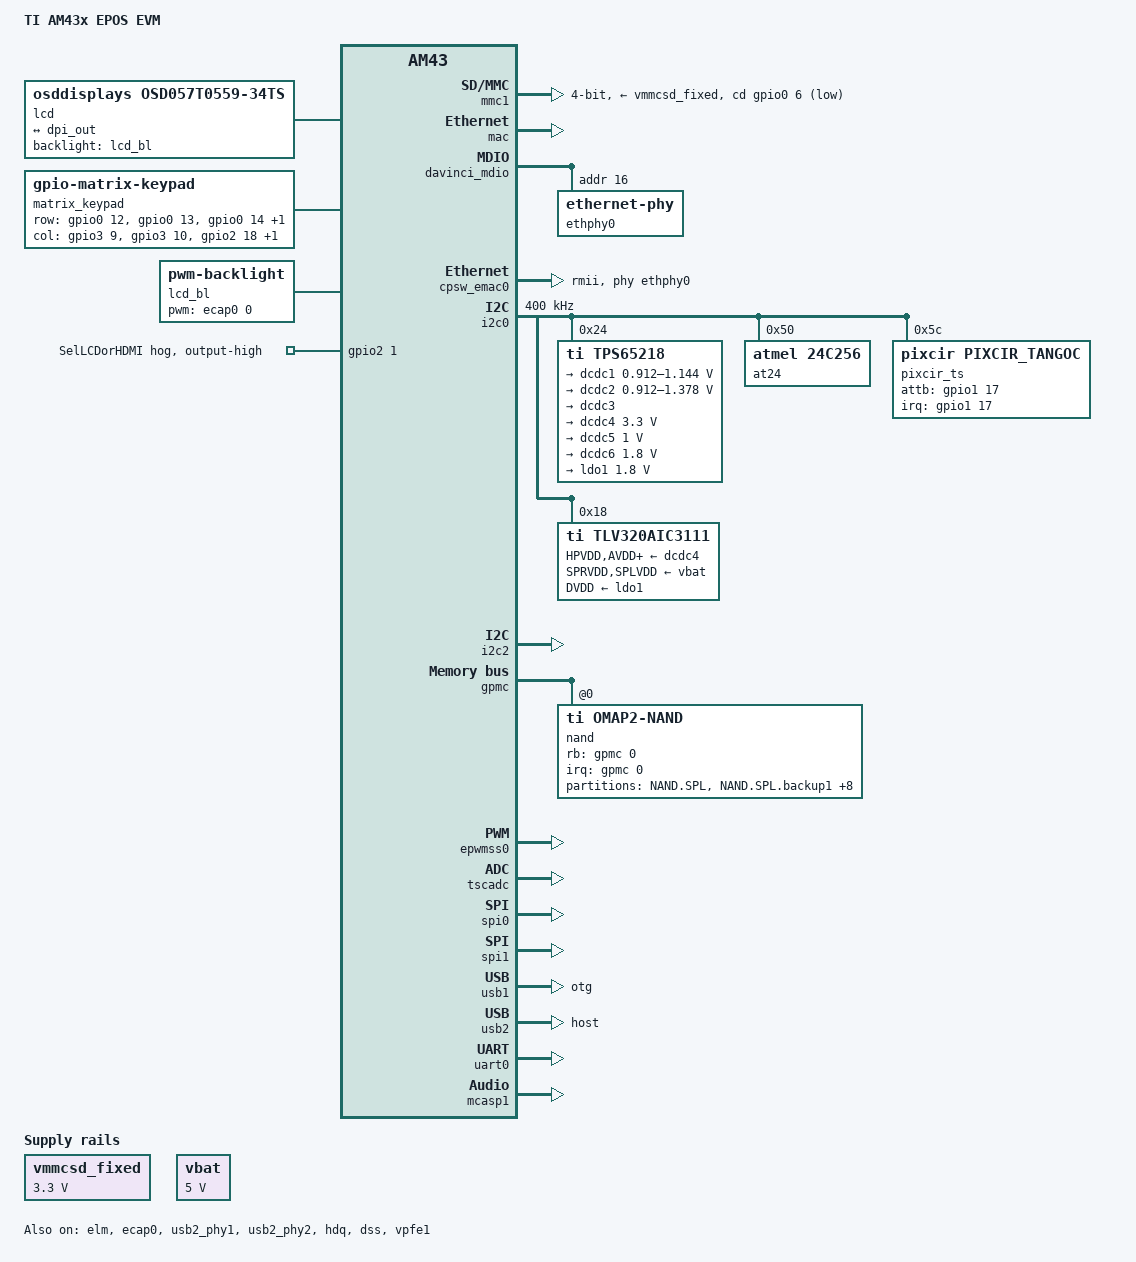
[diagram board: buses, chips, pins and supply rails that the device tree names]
/*
 * Copyright (C) 2013 Texas Instruments Incorporated - http://www.ti.com/
 *
 * This program is free software; you can redistribute it and/or modify
 * it under the terms of the GNU General Public License version 2 as
 * published by the Free Software Foundation.
 */

/* AM43x EPOS EVM */

/dts-v1/;

#include "am4372.dtsi"
#include <dt-bindings/pinctrl/am43xx.h>
#include <dt-bindings/gpio/gpio.h>
#include <dt-bindings/pwm/pwm.h>
#include <dt-bindings/sound/tlv320aic31xx-micbias.h>

/ {
	model = "TI AM43x EPOS EVM";
	compatible = "ti,am43x-epos-evm","ti,am438x","ti,am43";

	aliases {
		display0 = &lcd0;
	};

	chosen {
		stdout-path = &uart0;
	};

	vmmcsd_fixed: fixedregulator-sd {
		compatible = "regulator-fixed";
		regulator-name = "vmmcsd_fixed";
		regulator-min-microvolt = <3300000>;
		regulator-max-microvolt = <3300000>;
		enable-active-high;
	};

	vbat: fixedregulator0 {
		compatible = "regulator-fixed";
		regulator-name = "vbat";
		regulator-min-microvolt = <5000000>;
		regulator-max-microvolt = <5000000>;
		regulator-boot-on;
	};

	lcd0: display {
		compatible = "osddisplays,osd057T0559-34ts", "panel-dpi";
		label = "lcd";

		backlight = <&lcd_bl>;

		panel-timing {
			clock-frequency = <33000000>;
			hactive = <800>;
			vactive = <480>;
			hfront-porch = <210>;
			hback-porch = <16>;
			hsync-len = <30>;
			vback-porch = <10>;
			vfront-porch = <22>;
			vsync-len = <13>;
			hsync-active = <0>;
			vsync-active = <0>;
			de-active = <1>;
			pixelclk-active = <1>;
		};

		port {
			lcd_in: endpoint {
				remote-endpoint = <&dpi_out>;
			};
		};
	};

	matrix_keypad: matrix_keypad0 {
		compatible = "gpio-matrix-keypad";
		debounce-delay-ms = <5>;
		col-scan-delay-us = <2>;
		pinctrl-names = "default", "sleep";
		pinctrl-0 = <&matrix_keypad_default>;
		pinctrl-1 = <&matrix_keypad_sleep>;

		row-gpios = <&gpio0 12 GPIO_ACTIVE_HIGH		/* Bank0, pin12 */
			     &gpio0 13 GPIO_ACTIVE_HIGH		/* Bank0, pin13 */
			     &gpio0 14 GPIO_ACTIVE_HIGH		/* Bank0, pin14 */
			     &gpio0 15 GPIO_ACTIVE_HIGH>;	/* Bank0, pin15 */

		col-gpios = <&gpio3 9 GPIO_ACTIVE_HIGH		/* Bank3, pin9 */
			     &gpio3 10 GPIO_ACTIVE_HIGH		/* Bank3, pin10 */
			     &gpio2 18 GPIO_ACTIVE_HIGH		/* Bank2, pin18 */
			     &gpio2 19 GPIO_ACTIVE_HIGH>;	/* Bank2, pin19 */

		linux,keymap = <0x00000201	/* P1 */
			0x01000204	/* P4 */
			0x02000207	/* P7 */
			0x0300020a	/* NUMERIC_STAR */
			0x00010202	/* P2 */
			0x01010205	/* P5 */
			0x02010208	/* P8 */
			0x03010200	/* P0 */
			0x00020203	/* P3 */
			0x01020206	/* P6 */
			0x02020209	/* P9 */
			0x0302020b	/* NUMERIC_POUND */
			0x00030067	/* UP */
			0x0103006a	/* RIGHT */
			0x0203006c	/* DOWN */
			0x03030069>;	/* LEFT */
	};

	lcd_bl: backlight {
		compatible = "pwm-backlight";
		pwms = <&ecap0 0 50000 PWM_POLARITY_INVERTED>;
		brightness-levels = <0 51 53 56 62 75 101 152 255>;
		default-brightness-level = <8>;
	};

	sound0: sound0 {
		compatible = "simple-audio-card";
		simple-audio-card,name = "AM43-EPOS-EVM";
		simple-audio-card,widgets =
			"Microphone", "Microphone Jack",
			"Headphone", "Headphone Jack",
			"Speaker", "Speaker";
		simple-audio-card,routing =
			"MIC1LP", "Microphone Jack",
			"MIC1RP", "Microphone Jack",
			"MIC1LP", "MICBIAS",
			"MIC1RP", "MICBIAS",
			"Headphone Jack", "HPL",
			"Headphone Jack", "HPR",
			"Speaker", "SPL",
			"Speaker", "SPR";
		simple-audio-card,format = "dsp_b";
		simple-audio-card,bitclock-master = <&sound0_master>;
		simple-audio-card,frame-master = <&sound0_master>;
		simple-audio-card,bitclock-inversion;

		simple-audio-card,cpu {
			sound-dai = <&mcasp1>;
			system-clock-frequency = <12000000>;
		};

		sound0_master: simple-audio-card,codec {
			sound-dai = <&tlv320aic3111>;
			system-clock-frequency = <12000000>;
		};
	};
};

&am43xx_pinmux {
		pinctrl-names = "default";
		pinctrl-0 = <&unused_pins>;

		unused_pins: unused_pins {
			pinctrl-single,pins = <
				AM4372_IOPAD(0x848, DS0_PIN_OUTPUT_PULLUP | PIN_OUTPUT_PULLUP | MUX_MODE7)
				AM4372_IOPAD(0x850, DS0_PIN_INPUT | PIN_INPUT_PULLDOWN | MUX_MODE7)
				AM4372_IOPAD(0x858, DS0_PIN_INPUT | PIN_INPUT_PULLDOWN | MUX_MODE7)
				AM4372_IOPAD(0x860, DS0_PIN_INPUT | PIN_INPUT_PULLDOWN | MUX_MODE7)
				AM4372_IOPAD(0x864, DS0_PIN_INPUT | PIN_INPUT_PULLDOWN | MUX_MODE7)
				AM4372_IOPAD(0x868, DS0_PIN_INPUT | PIN_INPUT_PULLDOWN | MUX_MODE7)
				AM4372_IOPAD(0x86c, DS0_PIN_INPUT | PIN_INPUT_PULLDOWN | MUX_MODE7)
				AM4372_IOPAD(0x878, DS0_PIN_OUTPUT_PULLUP | PIN_OUTPUT_PULLUP | MUX_MODE7)
				AM4372_IOPAD(0x908, DS0_PIN_INPUT_PULLDOWN | PIN_INPUT_PULLDOWN | MUX_MODE7)
				AM4372_IOPAD(0x91c, DS0_PIN_OUTPUT_PULLDOWN | PIN_OUTPUT_PULLDOWN | MUX_MODE7)
				AM4372_IOPAD(0x920, DS0_PIN_INPUT | PIN_INPUT_PULLDOWN | MUX_MODE7)
				AM4372_IOPAD(0x9e0, DS0_PIN_INPUT_PULLDOWN | PIN_INPUT_PULLDOWN | MUX_MODE7)
				AM4372_IOPAD(0xA0c, DS0_PIN_OUTPUT_PULLDOWN | PIN_OUTPUT_PULLDOWN | MUX_MODE7)
				AM4372_IOPAD(0xA38, DS0_PIN_INPUT | PIN_INPUT_PULLDOWN | MUX_MODE7)
				AM4372_IOPAD(0xA3c, DS0_PIN_INPUT | PIN_INPUT_PULLDOWN | MUX_MODE7)
				AM4372_IOPAD(0xA40, DS0_PIN_INPUT | PIN_INPUT_PULLDOWN | MUX_MODE7)
				AM4372_IOPAD(0xA44, DS0_PIN_INPUT | PIN_INPUT_PULLDOWN | MUX_MODE7)
				AM4372_IOPAD(0xA48, DS0_PIN_INPUT | PIN_INPUT_PULLDOWN | MUX_MODE7)
				AM4372_IOPAD(0xA4c, DS0_PIN_INPUT | PIN_INPUT_PULLDOWN | MUX_MODE7)
				AM4372_IOPAD(0xA50, DS0_PIN_INPUT | PIN_INPUT_PULLDOWN | MUX_MODE7)
				AM4372_IOPAD(0xA54, DS0_PIN_INPUT | PIN_INPUT_PULLDOWN | MUX_MODE7)
				AM4372_IOPAD(0xA58, DS0_PIN_INPUT | PIN_INPUT_PULLDOWN | MUX_MODE7)
				AM4372_IOPAD(0xA5c, DS0_PIN_INPUT | PIN_INPUT_PULLDOWN | MUX_MODE7)
				AM4372_IOPAD(0xA60, DS0_PIN_INPUT | PIN_INPUT_PULLDOWN | MUX_MODE7)
				AM4372_IOPAD(0xA64, DS0_PIN_OUTPUT_PULLUP | PIN_OUTPUT_PULLUP | MUX_MODE7)
				AM4372_IOPAD(0xA68, DS0_PIN_INPUT | PIN_INPUT_PULLDOWN | MUX_MODE7)
				AM4372_IOPAD(0xA6C, DS0_PIN_INPUT | PIN_INPUT_PULLDOWN | MUX_MODE7)
				AM4372_IOPAD(0xA74, DS0_PIN_INPUT_PULLDOWN | PIN_INPUT_PULLDOWN | MUX_MODE7)
				AM4372_IOPAD(0xA78, DS0_PIN_INPUT | PIN_INPUT_PULLDOWN | MUX_MODE7)
			>;
		};

		cpsw_default: cpsw_default {
			pinctrl-single,pins = <
				/* Slave 1 */
				AM4372_IOPAD(0x90c, PIN_INPUT_PULLDOWN | MUX_MODE1)	/* mii1_crs.rmii1_crs */
				AM4372_IOPAD(0x910, PIN_INPUT_PULLDOWN | MUX_MODE1)	/* mii1_rxerr.rmii1_rxerr */
				AM4372_IOPAD(0x914, PIN_OUTPUT_PULLDOWN | MUX_MODE1)	/* mii1_txen.rmii1_txen */
				AM4372_IOPAD(0x918, PIN_INPUT_PULLDOWN | MUX_MODE1)	/* mii1_rxdv.rmii1_rxdv */
				AM4372_IOPAD(0x924, PIN_OUTPUT_PULLDOWN | MUX_MODE1)	/* mii1_txd1.rmii1_txd1 */
				AM4372_IOPAD(0x928, PIN_OUTPUT_PULLDOWN | MUX_MODE1)	/* mii1_txd0.rmii1_txd0 */
				AM4372_IOPAD(0x93c, PIN_INPUT_PULLDOWN | MUX_MODE1)	/* mii1_rxd1.rmii1_rxd1 */
				AM4372_IOPAD(0x940, PIN_INPUT_PULLDOWN | MUX_MODE1)	/* mii1_rxd0.rmii1_rxd0 */
				AM4372_IOPAD(0x944, PIN_INPUT_PULLDOWN | MUX_MODE0)	/* rmii1_refclk.rmii1_refclk */
			>;
		};

		cpsw_sleep: cpsw_sleep {
			pinctrl-single,pins = <
				/* Slave 1 reset value */
				AM4372_IOPAD(0x90c, PIN_INPUT_PULLDOWN | MUX_MODE7)
				AM4372_IOPAD(0x910, PIN_INPUT_PULLDOWN | MUX_MODE7)
				AM4372_IOPAD(0x914, PIN_INPUT_PULLDOWN | MUX_MODE7)
				AM4372_IOPAD(0x918, PIN_INPUT_PULLDOWN | MUX_MODE7)
				AM4372_IOPAD(0x924, PIN_INPUT_PULLDOWN | MUX_MODE7)
				AM4372_IOPAD(0x928, PIN_INPUT_PULLDOWN | MUX_MODE7)
				AM4372_IOPAD(0x93c, PIN_INPUT_PULLDOWN | MUX_MODE7)
				AM4372_IOPAD(0x940, PIN_INPUT_PULLDOWN | MUX_MODE7)
				AM4372_IOPAD(0x944, PIN_INPUT_PULLDOWN | MUX_MODE7)
			>;
		};

		davinci_mdio_default: davinci_mdio_default {
			pinctrl-single,pins = <
				/* MDIO */
				AM4372_IOPAD(0x948, PIN_INPUT_PULLUP | SLEWCTRL_FAST | MUX_MODE0)	/* mdio_data.mdio_data */
				AM4372_IOPAD(0x94c, PIN_OUTPUT_PULLUP | MUX_MODE0)			/* mdio_clk.mdio_clk */
			>;
		};

		davinci_mdio_sleep: davinci_mdio_sleep {
			pinctrl-single,pins = <
				/* MDIO reset value */
				AM4372_IOPAD(0x948, PIN_INPUT_PULLDOWN | MUX_MODE7)
				AM4372_IOPAD(0x94c, PIN_INPUT_PULLDOWN | MUX_MODE7)
			>;
		};

		i2c0_pins: pinmux_i2c0_pins {
			pinctrl-single,pins = <
				AM4372_IOPAD(0x988, PIN_INPUT_PULLUP | SLEWCTRL_FAST | MUX_MODE0)	/* i2c0_sda.i2c0_sda */
				AM4372_IOPAD(0x98c, PIN_INPUT_PULLUP | SLEWCTRL_FAST | MUX_MODE0)	/* i2c0_scl.i2c0_scl */
			>;
		};

		nand_flash_x8_default: nand_flash_x8_default {
			pinctrl-single,pins = <
				AM4372_IOPAD(0x840, PIN_OUTPUT_PULLDOWN | MUX_MODE7)	/* gpmc_a0.SELQSPIorNAND/GPIO */
				AM4372_IOPAD(0x800, PIN_INPUT_PULLDOWN | MUX_MODE0)	/* gpmc_ad0.gpmc_ad0 */
				AM4372_IOPAD(0x804, PIN_INPUT_PULLDOWN | MUX_MODE0)	/* gpmc_ad1.gpmc_ad1 */
				AM4372_IOPAD(0x808, PIN_INPUT_PULLDOWN | MUX_MODE0)	/* gpmc_ad2.gpmc_ad2 */
				AM4372_IOPAD(0x80c, PIN_INPUT_PULLDOWN | MUX_MODE0)	/* gpmc_ad3.gpmc_ad3 */
				AM4372_IOPAD(0x810, PIN_INPUT_PULLDOWN | MUX_MODE0)	/* gpmc_ad4.gpmc_ad4 */
				AM4372_IOPAD(0x814, PIN_INPUT_PULLDOWN | MUX_MODE0)	/* gpmc_ad5.gpmc_ad5 */
				AM4372_IOPAD(0x818, PIN_INPUT_PULLDOWN | MUX_MODE0)	/* gpmc_ad6.gpmc_ad6 */
				AM4372_IOPAD(0x81c, PIN_INPUT_PULLDOWN | MUX_MODE0)	/* gpmc_ad7.gpmc_ad7 */
				AM4372_IOPAD(0x870, PIN_INPUT_PULLUP | MUX_MODE0)	/* gpmc_wait0.gpmc_wait0 */
				AM4372_IOPAD(0x874, PIN_OUTPUT_PULLUP | MUX_MODE7)	/* gpmc_wpn.gpmc_wpn */
				AM4372_IOPAD(0x87c, PIN_OUTPUT | MUX_MODE0)		/* gpmc_csn0.gpmc_csn0  */
				AM4372_IOPAD(0x890, PIN_OUTPUT | MUX_MODE0)		/* gpmc_advn_ale.gpmc_advn_ale */
				AM4372_IOPAD(0x894, PIN_OUTPUT | MUX_MODE0)		/* gpmc_oen_ren.gpmc_oen_ren */
				AM4372_IOPAD(0x898, PIN_OUTPUT | MUX_MODE0)		/* gpmc_wen.gpmc_wen */
				AM4372_IOPAD(0x89c, PIN_OUTPUT | MUX_MODE0)		/* gpmc_be0n_cle.gpmc_be0n_cle */
			>;
		};

		nand_flash_x8_sleep: nand_flash_x8_sleep {
			pinctrl-single,pins = <
				AM4372_IOPAD(0x840, DS0_PIN_OUTPUT_PULLDOWN | MUX_MODE7)
				AM4372_IOPAD(0x800, DS0_PIN_OUTPUT_PULLDOWN | MUX_MODE7)
				AM4372_IOPAD(0x804, DS0_PIN_OUTPUT_PULLDOWN | MUX_MODE7)
				AM4372_IOPAD(0x808, DS0_PIN_OUTPUT_PULLDOWN | MUX_MODE7)
				AM4372_IOPAD(0x80c, DS0_PIN_OUTPUT_PULLDOWN | MUX_MODE7)
				AM4372_IOPAD(0x810, DS0_PIN_OUTPUT_PULLDOWN | MUX_MODE7)
				AM4372_IOPAD(0x814, DS0_PIN_OUTPUT_PULLDOWN | MUX_MODE7)
				AM4372_IOPAD(0x818, DS0_PIN_OUTPUT_PULLDOWN | MUX_MODE7)
				AM4372_IOPAD(0x81c, DS0_PIN_OUTPUT_PULLDOWN | MUX_MODE7)
				AM4372_IOPAD(0x870, DS0_PIN_OUTPUT_PULLUP | MUX_MODE7)
				AM4372_IOPAD(0x874, DS0_PIN_OUTPUT_PULLUP | MUX_MODE7)
				AM4372_IOPAD(0x87c, DS0_PIN_OUTPUT_PULLUP | MUX_MODE7)
				AM4372_IOPAD(0x890, DS0_PIN_OUTPUT_PULLUP | MUX_MODE7)
				AM4372_IOPAD(0x894, DS0_PIN_OUTPUT_PULLUP | MUX_MODE7)
				AM4372_IOPAD(0x898, DS0_PIN_OUTPUT_PULLUP | MUX_MODE7)
				AM4372_IOPAD(0x89c, DS0_PIN_OUTPUT_PULLUP | MUX_MODE7)
			>;
		};

		ecap0_pins_default: backlight_pins_default {
			pinctrl-single,pins = <
				AM4372_IOPAD(0x964, MUX_MODE0)         /* eCAP0_in_PWM0_out.eCAP0_in_PWM0_out MODE0 */
			>;
		};

		ecap0_pins_sleep: backlight_pins_sleep {
			pinctrl-single,pins = <
				AM4372_IOPAD(0x964, DS0_PIN_OUTPUT_PULLUP | MUX_MODE7)
			>;
		};

		i2c2_pins: pinmux_i2c2_pins {
			pinctrl-single,pins = <
				AM4372_IOPAD(0x9c0, PIN_INPUT_PULLUP | SLEWCTRL_FAST | MUX_MODE8)    /* i2c2_sda.i2c2_sda */
				AM4372_IOPAD(0x9c4, PIN_INPUT_PULLUP | SLEWCTRL_FAST | MUX_MODE8)    /* i2c2_scl.i2c2_scl */
			>;
		};

		spi0_pins_default: pinmux_spi0_pins_default {
			pinctrl-single,pins = <
				AM4372_IOPAD(0x950, PIN_INPUT | MUX_MODE0)           /* spi0_clk.spi0_clk */
				AM4372_IOPAD(0x954, PIN_OUTPUT | MUX_MODE0)           /* spi0_d0.spi0_d0 */
				AM4372_IOPAD(0x958, PIN_INPUT | MUX_MODE0)           /* spi0_d1.spi0_d1 */
				AM4372_IOPAD(0x95c, PIN_OUTPUT | MUX_MODE0)          /* spi0_cs0.spi0_cs0 */
			>;
		};

		spi0_pins_sleep: pinmux_spi0_pins_sleep {
			pinctrl-single,pins = <
				AM4372_IOPAD(0x950, DS0_PIN_OUTPUT_PULLUP | PIN_OUTPUT_PULLUP | MUX_MODE7)
				AM4372_IOPAD(0x954, DS0_PIN_OUTPUT_PULLUP | PIN_OUTPUT_PULLUP | MUX_MODE7)
				AM4372_IOPAD(0x958, DS0_PIN_OUTPUT_PULLUP | PIN_OUTPUT_PULLUP | MUX_MODE7)
				AM4372_IOPAD(0x95c, DS0_PIN_OUTPUT_PULLUP | PIN_OUTPUT_PULLUP | MUX_MODE7)
			>;
		};

		spi1_pins_default: pinmux_spi1_pins_default {
			pinctrl-single,pins = <
				AM4372_IOPAD(0x990, PIN_INPUT | MUX_MODE3)           /* mcasp0_aclkx.spi1_clk */
				AM4372_IOPAD(0x994, PIN_OUTPUT | MUX_MODE3)           /* mcasp0_fsx.spi1_d0 */
				AM4372_IOPAD(0x998, PIN_INPUT | MUX_MODE3)           /* mcasp0_axr0.spi1_d1 */
				AM4372_IOPAD(0x99c, PIN_OUTPUT | MUX_MODE3)          /* mcasp0_ahclkr.spi1_cs0 */
			>;
		};

		spi1_pins_sleep: pinmux_spi1_pins_sleep {
			pinctrl-single,pins = <
				AM4372_IOPAD(0x990, DS0_PIN_OUTPUT_PULLDOWN | PIN_OUTPUT_PULLDOWN | MUX_MODE7)
				AM4372_IOPAD(0x994, DS0_PIN_OUTPUT_PULLDOWN | PIN_OUTPUT_PULLDOWN | MUX_MODE7)
				AM4372_IOPAD(0x998, DS0_PIN_OUTPUT_PULLDOWN | PIN_OUTPUT_PULLDOWN | MUX_MODE7)
				AM4372_IOPAD(0x99c, DS0_PIN_OUTPUT_PULLDOWN | PIN_OUTPUT_PULLDOWN | MUX_MODE7)
			>;
		};

		mmc1_pins_default: pinmux_mmc1_pins_default {
			pinctrl-single,pins = <
				AM4372_IOPAD(0x960, PIN_INPUT | MUX_MODE7) /* spi0_cs1.gpio0_6 */
			>;
		};

		mmc1_pins_sleep: pinmux_mmc1_pins_sleep {
			pinctrl-single,pins = <
				AM4372_IOPAD(0x960, DS0_PIN_OUTPUT_PULLUP | PIN_INPUT | MUX_MODE7)
			>;
		};

		matrix_keypad_default: matrix_keypad_default {
			pinctrl-single,pins = <
				 AM4372_IOPAD(0x92c, PIN_OUTPUT | MUX_MODE7)          /* mii1_tx_clk.gpio3_9 */
				 AM4372_IOPAD(0x930, PIN_OUTPUT | MUX_MODE7)          /* mii1_rx_clk.gpio3_10 */
				 AM4372_IOPAD(0x934, PIN_OUTPUT | MUX_MODE7)          /* mii1_rxd3.gpio2_18 */
				 AM4372_IOPAD(0x938, PIN_OUTPUT | MUX_MODE7)          /* mii1_rxd2.gpio2_19 */
				 AM4372_IOPAD(0x978, PIN_INPUT_PULLDOWN | MUX_MODE7)  /* uart1_ctsn.gpio0_12 */
				 AM4372_IOPAD(0x97C, PIN_INPUT_PULLDOWN | MUX_MODE7)  /* uart1_rtsn.gpio0_13 */
				 AM4372_IOPAD(0x980, PIN_INPUT_PULLDOWN | MUX_MODE7)  /* uart1_rxd.gpio0_14 */
				 AM4372_IOPAD(0x984, PIN_INPUT_PULLDOWN | MUX_MODE7)  /* uart1_txd.gpio0_15 */
			>;
		};

		matrix_keypad_sleep: matrix_keypad_sleep {
			pinctrl-single,pins = <
				AM4372_IOPAD(0x92c, PIN_INPUT_PULLUP | MUX_MODE7)
				AM4372_IOPAD(0x930, PIN_INPUT_PULLUP | MUX_MODE7)
				AM4372_IOPAD(0x934, PIN_INPUT_PULLUP | MUX_MODE7)
				AM4372_IOPAD(0x938, PIN_INPUT_PULLUP | MUX_MODE7)
				AM4372_IOPAD(0x978, PIN_INPUT_PULLDOWN | MUX_MODE7)
				AM4372_IOPAD(0x97C, PIN_INPUT_PULLDOWN | MUX_MODE7)
				AM4372_IOPAD(0x980, PIN_INPUT_PULLDOWN | MUX_MODE7)
				AM4372_IOPAD(0x984, PIN_INPUT_PULLDOWN | MUX_MODE7)
			>;
		};

		qspi1_pins_default: qspi1_pins_default {
			pinctrl-single,pins = <
				AM4372_IOPAD(0x87c, PIN_INPUT_PULLUP | MUX_MODE3)
				AM4372_IOPAD(0x888, PIN_INPUT_PULLUP | MUX_MODE2)
				AM4372_IOPAD(0x890, PIN_INPUT_PULLUP | MUX_MODE3)
				AM4372_IOPAD(0x894, PIN_INPUT_PULLUP | MUX_MODE3)
				AM4372_IOPAD(0x898, PIN_INPUT_PULLUP | MUX_MODE3)
				AM4372_IOPAD(0x89c, PIN_INPUT_PULLUP | MUX_MODE3)
			>;
		};

		qspi1_pins_sleep: qspi1_pins_sleep {
			pinctrl-single,pins = <
				AM4372_IOPAD(0x87c, DS0_PIN_OUTPUT_PULLUP | MUX_MODE7)
				AM4372_IOPAD(0x888, DS0_PIN_OUTPUT_PULLUP | MUX_MODE7)
				AM4372_IOPAD(0x890, DS0_PIN_OUTPUT_PULLUP | MUX_MODE7)
				AM4372_IOPAD(0x894, DS0_PIN_OUTPUT_PULLUP | MUX_MODE7)
				AM4372_IOPAD(0x898, DS0_PIN_OUTPUT_PULLUP | MUX_MODE7)
				AM4372_IOPAD(0x89c, DS0_PIN_OUTPUT_PULLUP | MUX_MODE7)
			>;
		};

		pixcir_ts_pins_default: pixcir_ts_pins_default {
			pinctrl-single,pins = <
				AM4372_IOPAD(0x844, PIN_INPUT_PULLUP | MUX_MODE7)	/* gpmc_a1.gpio1_17 */
			>;
		};

		pixcir_ts_pins_sleep: pixcir_ts_pins_sleep {
			pinctrl-single,pins = <
				AM4372_IOPAD(0x844, DS0_PIN_OUTPUT_PULLUP | PIN_OUTPUT_PULLUP | MUX_MODE7)	/* gpmc_a1.gpio1_17 */
			>;
		};

		hdq_pins: pinmux_hdq_pins {
			pinctrl-single,pins = <
				AM4372_IOPAD(0xa34, PIN_INPUT_PULLUP | MUX_MODE1)    /* cam1_wen.hdq_gpio */
			>;
		};

		dss_pins: dss_pins {
			pinctrl-single,pins = <
				AM4372_IOPAD(0x820, PIN_OUTPUT_PULLUP | MUX_MODE1) /*gpmc ad 8 -> DSS DATA 23 */
				AM4372_IOPAD(0x824, PIN_OUTPUT_PULLUP | MUX_MODE1)
				AM4372_IOPAD(0x828, PIN_OUTPUT_PULLUP | MUX_MODE1)
				AM4372_IOPAD(0x82c, PIN_OUTPUT_PULLUP | MUX_MODE1)
				AM4372_IOPAD(0x830, PIN_OUTPUT_PULLUP | MUX_MODE1)
				AM4372_IOPAD(0x834, PIN_OUTPUT_PULLUP | MUX_MODE1)
				AM4372_IOPAD(0x838, PIN_OUTPUT_PULLUP | MUX_MODE1)
				AM4372_IOPAD(0x83c, PIN_OUTPUT_PULLUP | MUX_MODE1) /*gpmc ad 15 -> DSS DATA 16 */
				AM4372_IOPAD(0x8a0, PIN_OUTPUT_PULLUP | MUX_MODE0) /* DSS DATA 0 */
				AM4372_IOPAD(0x8a4, PIN_OUTPUT_PULLUP | MUX_MODE0)
				AM4372_IOPAD(0x8a8, PIN_OUTPUT_PULLUP | MUX_MODE0)
				AM4372_IOPAD(0x8ac, PIN_OUTPUT_PULLUP | MUX_MODE0)
				AM4372_IOPAD(0x8b0, PIN_OUTPUT_PULLUP | MUX_MODE0)
				AM4372_IOPAD(0x8b4, PIN_OUTPUT_PULLUP | MUX_MODE0)
				AM4372_IOPAD(0x8B8, PIN_OUTPUT_PULLUP | MUX_MODE0)
				AM4372_IOPAD(0x8bc, PIN_OUTPUT_PULLUP | MUX_MODE0)
				AM4372_IOPAD(0x8c0, PIN_OUTPUT_PULLUP | MUX_MODE0)
				AM4372_IOPAD(0x8c4, PIN_OUTPUT_PULLUP | MUX_MODE0)
				AM4372_IOPAD(0x8c8, PIN_OUTPUT_PULLUP | MUX_MODE0)
				AM4372_IOPAD(0x8cc, PIN_OUTPUT_PULLUP | MUX_MODE0)
				AM4372_IOPAD(0x8d0, PIN_OUTPUT_PULLUP | MUX_MODE0)
				AM4372_IOPAD(0x8d4, PIN_OUTPUT_PULLUP | MUX_MODE0)
				AM4372_IOPAD(0x8d8, PIN_OUTPUT_PULLUP | MUX_MODE0)
				AM4372_IOPAD(0x8dc, PIN_OUTPUT_PULLUP | MUX_MODE0) /* DSS DATA 15 */
				AM4372_IOPAD(0x8e0, PIN_OUTPUT_PULLUP | MUX_MODE0) /* DSS VSYNC */
				AM4372_IOPAD(0x8e4, PIN_OUTPUT_PULLUP | MUX_MODE0) /* DSS HSYNC */
				AM4372_IOPAD(0x8e8, PIN_OUTPUT_PULLUP | MUX_MODE0) /* DSS PCLK */
				AM4372_IOPAD(0x8ec, PIN_OUTPUT_PULLUP | MUX_MODE0) /* DSS AC BIAS EN */
			>;
		};

		display_mux_pins: display_mux_pins {
			pinctrl-single,pins = <
				/* GPMC CLK -> GPIO 2_1 to select LCD / HDMI */
				AM4372_IOPAD(0x88C, PIN_OUTPUT_PULLUP | MUX_MODE7)
			>;
		};

		vpfe1_pins_default: vpfe1_pins_default {
			pinctrl-single,pins = <
				AM4372_IOPAD(0x9cc, PIN_INPUT_PULLUP | MUX_MODE0)  /* cam1_data9 mode 0 */
				AM4372_IOPAD(0x9d0, PIN_INPUT_PULLUP | MUX_MODE0)  /* cam1_data8 mode 0 */
				AM4372_IOPAD(0x9d4, PIN_INPUT_PULLUP | MUX_MODE0)  /* cam1_hd mode 0 */
				AM4372_IOPAD(0x9d8, PIN_INPUT_PULLUP | MUX_MODE0)  /* cam1_vd mode 0 */
				AM4372_IOPAD(0x9dc, PIN_INPUT_PULLUP | MUX_MODE0)  /* cam1_pclk mode 0 */
				AM4372_IOPAD(0x9e8, PIN_INPUT_PULLUP | MUX_MODE0)  /* cam1_data0 mode 0 */
				AM4372_IOPAD(0x9ec, PIN_INPUT_PULLUP | MUX_MODE0)  /* cam1_data1 mode 0 */
				AM4372_IOPAD(0x9f0, PIN_INPUT_PULLUP | MUX_MODE0)  /* cam1_data2 mode 0 */
				AM4372_IOPAD(0x9f4, PIN_INPUT_PULLUP | MUX_MODE0)  /* cam1_data3 mode 0 */
				AM4372_IOPAD(0x9f8, PIN_INPUT_PULLUP | MUX_MODE0)  /* cam1_data4 mode 0 */
				AM4372_IOPAD(0x9fc, PIN_INPUT_PULLUP | MUX_MODE0)  /* cam1_data5 mode 0 */
				AM4372_IOPAD(0xa00, PIN_INPUT_PULLUP | MUX_MODE0)  /* cam1_data6 mode 0 */
				AM4372_IOPAD(0xa04, PIN_INPUT_PULLUP | MUX_MODE0)  /* cam1_data7 mode 0 */
			>;
		};

		vpfe1_pins_sleep: vpfe1_pins_sleep {
			pinctrl-single,pins = <
				AM4372_IOPAD(0x9cc, DS0_PULL_UP_DOWN_EN | INPUT_EN | MUX_MODE7)
				AM4372_IOPAD(0x9d0, DS0_PULL_UP_DOWN_EN | INPUT_EN | MUX_MODE7)
				AM4372_IOPAD(0x9d4, DS0_PULL_UP_DOWN_EN | INPUT_EN | MUX_MODE7)
				AM4372_IOPAD(0x9d8, DS0_PULL_UP_DOWN_EN | INPUT_EN | MUX_MODE7)
				AM4372_IOPAD(0x9dc, DS0_PULL_UP_DOWN_EN | INPUT_EN | MUX_MODE7)
				AM4372_IOPAD(0x9e8, DS0_PULL_UP_DOWN_EN | INPUT_EN | MUX_MODE7)
				AM4372_IOPAD(0x9ec, DS0_PULL_UP_DOWN_EN | INPUT_EN | MUX_MODE7)
				AM4372_IOPAD(0x9f0, DS0_PULL_UP_DOWN_EN | INPUT_EN | MUX_MODE7)
				AM4372_IOPAD(0x9f4, DS0_PULL_UP_DOWN_EN | INPUT_EN | MUX_MODE7)
				AM4372_IOPAD(0x9f8, DS0_PULL_UP_DOWN_EN | INPUT_EN | MUX_MODE7)
				AM4372_IOPAD(0x9fc, DS0_PULL_UP_DOWN_EN | INPUT_EN | MUX_MODE7)
				AM4372_IOPAD(0xa00, DS0_PULL_UP_DOWN_EN | INPUT_EN | MUX_MODE7)
				AM4372_IOPAD(0xa04, DS0_PULL_UP_DOWN_EN | INPUT_EN | MUX_MODE7)
			>;
		};

		uart0_pins_default: uart0_pins_default {
			pinctrl-single,pins = <
				AM4372_IOPAD(0x968, DS0_PULL_UP_DOWN_EN | INPUT_EN | MUX_MODE0) /* uart0_ctsn.uart0_ctsn */
				AM4372_IOPAD(0x96C, DS0_PULL_UP_DOWN_EN | INPUT_EN | MUX_MODE0) /* uart0_rtsn.uart0_rtsn */
				AM4372_IOPAD(0x970, PIN_INPUT_PULLUP | SLEWCTRL_FAST | DS0_PULL_UP_DOWN_EN | MUX_MODE0)	/* uart0_rxd.uart0_rxd */
				AM4372_IOPAD(0x974, PIN_INPUT | SLEWCTRL_FAST | DS0_PULL_UP_DOWN_EN | MUX_MODE0)	/* uart0_txd.uart0_txd */
			>;
		};

		uart0_pins_sleep: uart0_pins_sleep {
			pinctrl-single,pins = <
				AM4372_IOPAD(0x968, DS0_PULL_UP_DOWN_EN | INPUT_EN | MUX_MODE7)
				AM4372_IOPAD(0x96C, DS0_PULL_UP_DOWN_EN | INPUT_EN | MUX_MODE7)
				AM4372_IOPAD(0x970, PIN_INPUT_PULLUP | SLEWCTRL_FAST | DS0_PULL_UP_DOWN_EN | MUX_MODE0)
				AM4372_IOPAD(0x974, PIN_INPUT | SLEWCTRL_FAST | DS0_PULL_UP_DOWN_EN | MUX_MODE0)
			>;
		};

		usb2_phy1_default: usb2_phy1_default {
			pinctrl-single,pins = <
				AM4372_IOPAD(0xac0, PIN_INPUT_PULLDOWN | MUX_MODE0)
			>;
		};

		usb2_phy1_sleep: usb2_phy1_sleep {
			pinctrl-single,pins = <
				AM4372_IOPAD(0xac0, DS0_PULL_UP_DOWN_EN | PIN_INPUT_PULLDOWN | MUX_MODE7)
			>;
		};

		usb2_phy2_default: usb2_phy2_default {
			pinctrl-single,pins = <
				AM4372_IOPAD(0xac4, PIN_INPUT_PULLDOWN | MUX_MODE0)
			>;
		};

		usb2_phy2_sleep: usb2_phy2_sleep {
			pinctrl-single,pins = <
				AM4372_IOPAD(0xac4, DS0_PULL_UP_DOWN_EN | PIN_INPUT_PULLDOWN | MUX_MODE7)
			>;
		};

		mcasp1_pins: mcasp1_pins {
			pinctrl-single,pins = <
				AM4372_IOPAD(0x9a0, PIN_INPUT_PULLDOWN | MUX_MODE3) /* MCASP0_ACLKR/MCASP1_ACLKX */
				AM4372_IOPAD(0x9a4, PIN_INPUT_PULLDOWN | MUX_MODE3) /* MCASP0_FSR/MCASP1_FSX */
				AM4372_IOPAD(0x9a8, PIN_OUTPUT_PULLDOWN | MUX_MODE3)/* MCASP0_AXR1/MCASP1_AXR0 */
				AM4372_IOPAD(0x9ac, PIN_INPUT_PULLDOWN | MUX_MODE3) /* MCASP0_AHCLKX/MCASP1_AXR1 */
			>;
		};

		mcasp1_sleep_pins: mcasp1_sleep_pins {
			pinctrl-single,pins = <
				AM4372_IOPAD(0x9a0, PIN_INPUT_PULLDOWN | MUX_MODE7)
				AM4372_IOPAD(0x9a4, PIN_INPUT_PULLDOWN | MUX_MODE7)
				AM4372_IOPAD(0x9a8, PIN_INPUT_PULLDOWN | MUX_MODE7)
				AM4372_IOPAD(0x9ac, PIN_INPUT_PULLDOWN | MUX_MODE7)
			>;
		};
};

&mmc1 {
	status = "okay";
	vmmc-supply = <&vmmcsd_fixed>;
	bus-width = <4>;
	pinctrl-names = "default", "sleep";
	pinctrl-0 = <&mmc1_pins_default>;
	pinctrl-1 = <&mmc1_pins_sleep>;
	cd-gpios = <&gpio0 6 GPIO_ACTIVE_LOW>;
};

&mac {
	pinctrl-names = "default", "sleep";
	pinctrl-0 = <&cpsw_default>;
	pinctrl-1 = <&cpsw_sleep>;
	status = "okay";
	slaves = <1>;
};

&davinci_mdio {
	pinctrl-names = "default", "sleep";
	pinctrl-0 = <&davinci_mdio_default>;
	pinctrl-1 = <&davinci_mdio_sleep>;
	status = "okay";

	ethphy0: ethernet-phy@16 {
		reg = <16>;
	};
};

&cpsw_emac0 {
	phy-handle = <&ethphy0>;
	phy-mode = "rmii";
};

&phy_sel {
	rmii-clock-ext;
};

&i2c0 {
	status = "okay";
	pinctrl-names = "default";
	pinctrl-0 = <&i2c0_pins>;
	clock-frequency = <400000>;

	tps65218: tps65218@24 {
		reg = <0x24>;
		compatible = "ti,tps65218";
		interrupts = <GIC_SPI 7 IRQ_TYPE_LEVEL_HIGH>; /* NMIn */
		interrupt-controller;
		#interrupt-cells = <2>;

		dcdc1: regulator-dcdc1 {
			regulator-name = "vdd_core";
			regulator-min-microvolt = <912000>;
			regulator-max-microvolt = <1144000>;
			regulator-boot-on;
			regulator-always-on;
		};

		dcdc2: regulator-dcdc2 {
			regulator-name = "vdd_mpu";
			regulator-min-microvolt = <912000>;
			regulator-max-microvolt = <1378000>;
			regulator-boot-on;
			regulator-always-on;
		};

		dcdc3: regulator-dcdc3 {
			regulator-name = "vdcdc3";
			regulator-boot-on;
			regulator-always-on;
		};

		dcdc4: regulator-dcdc4 {
			regulator-name = "vdcdc4";
			regulator-min-microvolt = <3300000>;
			regulator-max-microvolt = <3300000>;
			regulator-boot-on;
			regulator-always-on;
		};

		dcdc5: regulator-dcdc5 {
			regulator-name = "v1_0bat";
			regulator-min-microvolt = <1000000>;
			regulator-max-microvolt = <1000000>;
		};

		dcdc6: regulator-dcdc6 {
			regulator-name = "v1_8bat";
			regulator-min-microvolt = <1800000>;
			regulator-max-microvolt = <1800000>;
		};

		ldo1: regulator-ldo1 {
			regulator-min-microvolt = <1800000>;
			regulator-max-microvolt = <1800000>;
			regulator-boot-on;
			regulator-always-on;
		};
	};

	at24@50 {
		compatible = "atmel,24c256";
		pagesize = <64>;
		reg = <0x50>;
	};

	pixcir_ts@5c {
		compatible = "pixcir,pixcir_tangoc";
		pinctrl-names = "default", "sleep";
		pinctrl-0 = <&pixcir_ts_pins_default>;
		pinctrl-1 = <&pixcir_ts_pins_sleep>;

		reg = <0x5c>;
		interrupt-parent = <&gpio1>;
		interrupts = <17 IRQ_TYPE_EDGE_FALLING>;

		attb-gpio = <&gpio1 17 GPIO_ACTIVE_HIGH>;

		touchscreen-size-x = <1024>;
		touchscreen-size-y = <600>;
	};

	tlv320aic3111: tlv320aic3111@18 {
		#sound-dai-cells = <0>;
		compatible = "ti,tlv320aic3111";
		reg = <0x18>;
		status = "okay";

		ai31xx-micbias-vg = <MICBIAS_2_0V>;

		/* Regulators */
		HPVDD-supply = <&dcdc4>; /* v3_3AUD -> V3_3D -> DCDC4 */
		SPRVDD-supply = <&vbat>; /* vbat */
		SPLVDD-supply = <&vbat>; /* vbat */
		AVDD-supply = <&dcdc4>; /* v3_3AUD -> V3_3D -> DCDC4 */
		IOVDD-supply = <&dcdc4>; /* V3_3D -> DCDC4 */
		DVDD-supply = <&ldo1>; /* V1_8AUD -> V1_8D -> LDO1 */
	};
};

&i2c2 {
	pinctrl-names = "default";
	pinctrl-0 = <&i2c2_pins>;
	status = "okay";
};

&gpio0 {
	status = "okay";
};

&gpio1 {
	status = "okay";
};

&gpio2 {
	pinctrl-names = "default";
	pinctrl-0 = <&display_mux_pins>;
	status = "okay";

	p1 {
		/*
		 * SelLCDorHDMI selects between display and audio paths:
		 * Low: HDMI display with audio via HDMI
		 * High: LCD display with analog audio via aic3111 codec
		 */
		gpio-hog;
		gpios = <1 GPIO_ACTIVE_HIGH>;
		output-high;
		line-name = "SelLCDorHDMI";
	};
};

&gpio3 {
	status = "okay";
};

&elm {
	status = "okay";
};

&gpmc {
	status = "okay";	/* Disable QSPI when enabling GPMC (NAND) */
	pinctrl-names = "default", "sleep";
	pinctrl-0 = <&nand_flash_x8_default>;
	pinctrl-1 = <&nand_flash_x8_sleep>;
	ranges = <0 0 0x08000000 0x01000000>;	/* CS0 space. Min partition = 16MB */
	nand@0,0 {
		compatible = "ti,omap2-nand";
		reg = <0 0 4>; /* CS0, offset 0, IO size 4 */
		interrupt-parent = <&gpmc>;
		interrupts = <0 IRQ_TYPE_NONE>, /* fifoevent */
			     <1 IRQ_TYPE_NONE>;	/* termcount */
		rb-gpios = <&gpmc 0 GPIO_ACTIVE_HIGH>;	/* gpmc_wait0 */
		ti,nand-xfer-type = "prefetch-dma";
		ti,nand-ecc-opt = "bch16";
		ti,elm-id = <&elm>;
		nand-bus-width = <8>;
		gpmc,device-width = <1>;
		gpmc,sync-clk-ps = <0>;
		gpmc,cs-on-ns = <0>;
		gpmc,cs-rd-off-ns = <40>; /* tCEA + tCHZ + 1 */
		gpmc,cs-wr-off-ns = <40>;
		gpmc,adv-on-ns = <0>;  /* cs-on-ns */
		gpmc,adv-rd-off-ns = <25>; /* min( tALH + tALS + 1) */
		gpmc,adv-wr-off-ns = <25>; /* min( tALH + tALS + 1) */
		gpmc,we-on-ns = <0>;   /* cs-on-ns */
		gpmc,we-off-ns = <20>; /* we-on-time + tWP + 2 */
		gpmc,oe-on-ns = <3>;  /* cs-on-ns + tRR + 2 */
		gpmc,oe-off-ns = <30>; /* oe-on-ns + tRP + 2 */
		gpmc,access-ns = <30>; /* tCEA + 4*/
		gpmc,rd-cycle-ns = <40>;
		gpmc,wr-cycle-ns = <40>;
		gpmc,bus-turnaround-ns = <0>;
		gpmc,cycle2cycle-delay-ns = <0>;
		gpmc,clk-activation-ns = <0>;
		gpmc,wr-access-ns = <40>;
		gpmc,wr-data-mux-bus-ns = <0>;
		/* MTD partition table */
		/* All SPL-* partitions are sized to minimal length
		 * which can be independently programmable. For
		 * NAND flash this is equal to size of erase-block */
		#address-cells = <1>;
		#size-cells = <1>;
		partition@0 {
			label = "NAND.SPL";
			reg = <0x00000000 0x00040000>;
		};
		partition@1 {
			label = "NAND.SPL.backup1";
			reg = <0x00040000 0x00040000>;
		};
		partition@2 {
			label = "NAND.SPL.backup2";
			reg = <0x00080000 0x00040000>;
		};
		partition@3 {
			label = "NAND.SPL.backup3";
			reg = <0x000C0000 0x00040000>;
		};
		partition@4 {
			label = "NAND.u-boot-spl-os";
			reg = <0x00100000 0x00080000>;
		};
		partition@5 {
			label = "NAND.u-boot";
			reg = <0x00180000 0x00100000>;
		};
		partition@6 {
			label = "NAND.u-boot-env";
			reg = <0x00280000 0x00040000>;
		};
		partition@7 {
			label = "NAND.u-boot-env.backup1";
			reg = <0x002C0000 0x00040000>;
		};
		partition@8 {
			label = "NAND.kernel";
			reg = <0x00300000 0x00700000>;
		};
		partition@9 {
			label = "NAND.file-system";
			reg = <0x00a00000 0x1f600000>;
		};
	};
};

&epwmss0 {
	status = "okay";
};

&tscadc {
	status = "okay";

	adc {
		ti,adc-channels = <0 1 2 3 4 5 6 7>;
	};
};

&ecap0 {
		status = "okay";
		pinctrl-names = "default", "sleep";
		pinctrl-0 = <&ecap0_pins_default>;
		pinctrl-1 = <&ecap0_pins_sleep>;
};

&spi0 {
	status = "okay";
	pinctrl-names = "default", "sleep";
	pinctrl-0 = <&spi0_pins_default>;
	pinctrl-1 = <&spi0_pins_sleep>;
};

&spi1 {
	status = "okay";
	pinctrl-names = "default", "sleep";
	pinctrl-0 = <&spi1_pins_default>;
	pinctrl-1 = <&spi1_pins_sleep>;
};

&usb2_phy1 {
	status = "okay";
	pinctrl-names = "default", "sleep";
	pinctrl-0 = <&usb2_phy1_default>;
	pinctrl-1 = <&usb2_phy1_sleep>;
};

&usb1 {
	dr_mode = "otg";
	status = "okay";
};

&usb2_phy2 {
	status = "okay";
	pinctrl-names = "default", "sleep";
	pinctrl-0 = <&usb2_phy2_default>;
	pinctrl-1 = <&usb2_phy2_sleep>;
};

&usb2 {
	dr_mode = "host";
	status = "okay";
};

&qspi {
	status = "disabled";	/* Disable GPMC (NAND) when enabling QSPI */
	pinctrl-names = "default", "sleep";
	pinctrl-0 = <&qspi1_pins_default>;
	pinctrl-1 = <&qspi1_pins_sleep>;

	spi-max-frequency = <48000000>;
	m25p80@0 {
		compatible = "mx66l51235l";
		spi-max-frequency = <48000000>;
		reg = <0>;
		spi-cpol;
		spi-cpha;
		spi-tx-bus-width = <1>;
		spi-rx-bus-width = <4>;
		#address-cells = <1>;
		#size-cells = <1>;

		/* MTD partition table.
		 * The ROM checks the first 512KiB
		 * for a valid file to boot(XIP).
		 */
		partition@0 {
			label = "QSPI.U_BOOT";
			reg = <0x00000000 0x000080000>;
		};
		partition@1 {
			label = "QSPI.U_BOOT.backup";
			reg = <0x00080000 0x00080000>;
		};
		partition@2 {
			label = "QSPI.U-BOOT-SPL_OS";
			reg = <0x00100000 0x00010000>;
		};
		partition@3 {
			label = "QSPI.U_BOOT_ENV";
			reg = <0x00110000 0x00010000>;
		};
		partition@4 {
			label = "QSPI.U-BOOT-ENV.backup";
			reg = <0x00120000 0x00010000>;
		};
		partition@5 {
			label = "QSPI.KERNEL";
			reg = <0x00130000 0x0800000>;
		};
		partition@6 {
			label = "QSPI.FILESYSTEM";
			reg = <0x00930000 0x36D0000>;
		};
	};
};

&hdq {
	status = "okay";
	pinctrl-names = "default";
	pinctrl-0 = <&hdq_pins>;
};

&dss {
	status = "ok";

	pinctrl-names = "default";
	pinctrl-0 = <&dss_pins>;

	port {
		dpi_out: endpoint {
			remote-endpoint = <&lcd_in>;
			data-lines = <24>;
		};
	};
};

&vpfe1 {
	status = "okay";
	pinctrl-names = "default", "sleep";
	pinctrl-0 = <&vpfe1_pins_default>;
	pinctrl-1 = <&vpfe1_pins_sleep>;

	port {
		vpfe1_ep: endpoint {
			/* remote-endpoint = <&sensor>; add once we have it */
			ti,am437x-vpfe-interface = <0>;
			bus-width = <8>;
			hsync-active = <0>;
			vsync-active = <0>;
		};
	};
};

&uart0 {
	status = "okay";
	pinctrl-names = "default", "sleep";
	pinctrl-0 = <&uart0_pins_default>;
	pinctrl-1 = <&uart0_pins_sleep>;
};

&mcasp1 {
	#sound-dai-cells = <0>;
	pinctrl-names = "default", "sleep";
	pinctrl-0 = <&mcasp1_pins>;
	pinctrl-1 = <&mcasp1_sleep_pins>;

	status = "okay";

	op-mode = <0>;          /* MCASP_IIS_MODE */
	tdm-slots = <2>;
	/* 4 serializer */
	serial-dir = <  /* 0: INACTIVE, 1: TX, 2: RX */
		1 2 0 0
	>;
	tx-num-evt = <32>;
	rx-num-evt = <32>;
};

&mux_synctimer32k_ck {
	assigned-clocks = <&mux_synctimer32k_ck>;
	assigned-clock-parents = <&clkdiv32k_ick>;
};

&cpu {
	cpu0-supply = <&dcdc2>;
};
